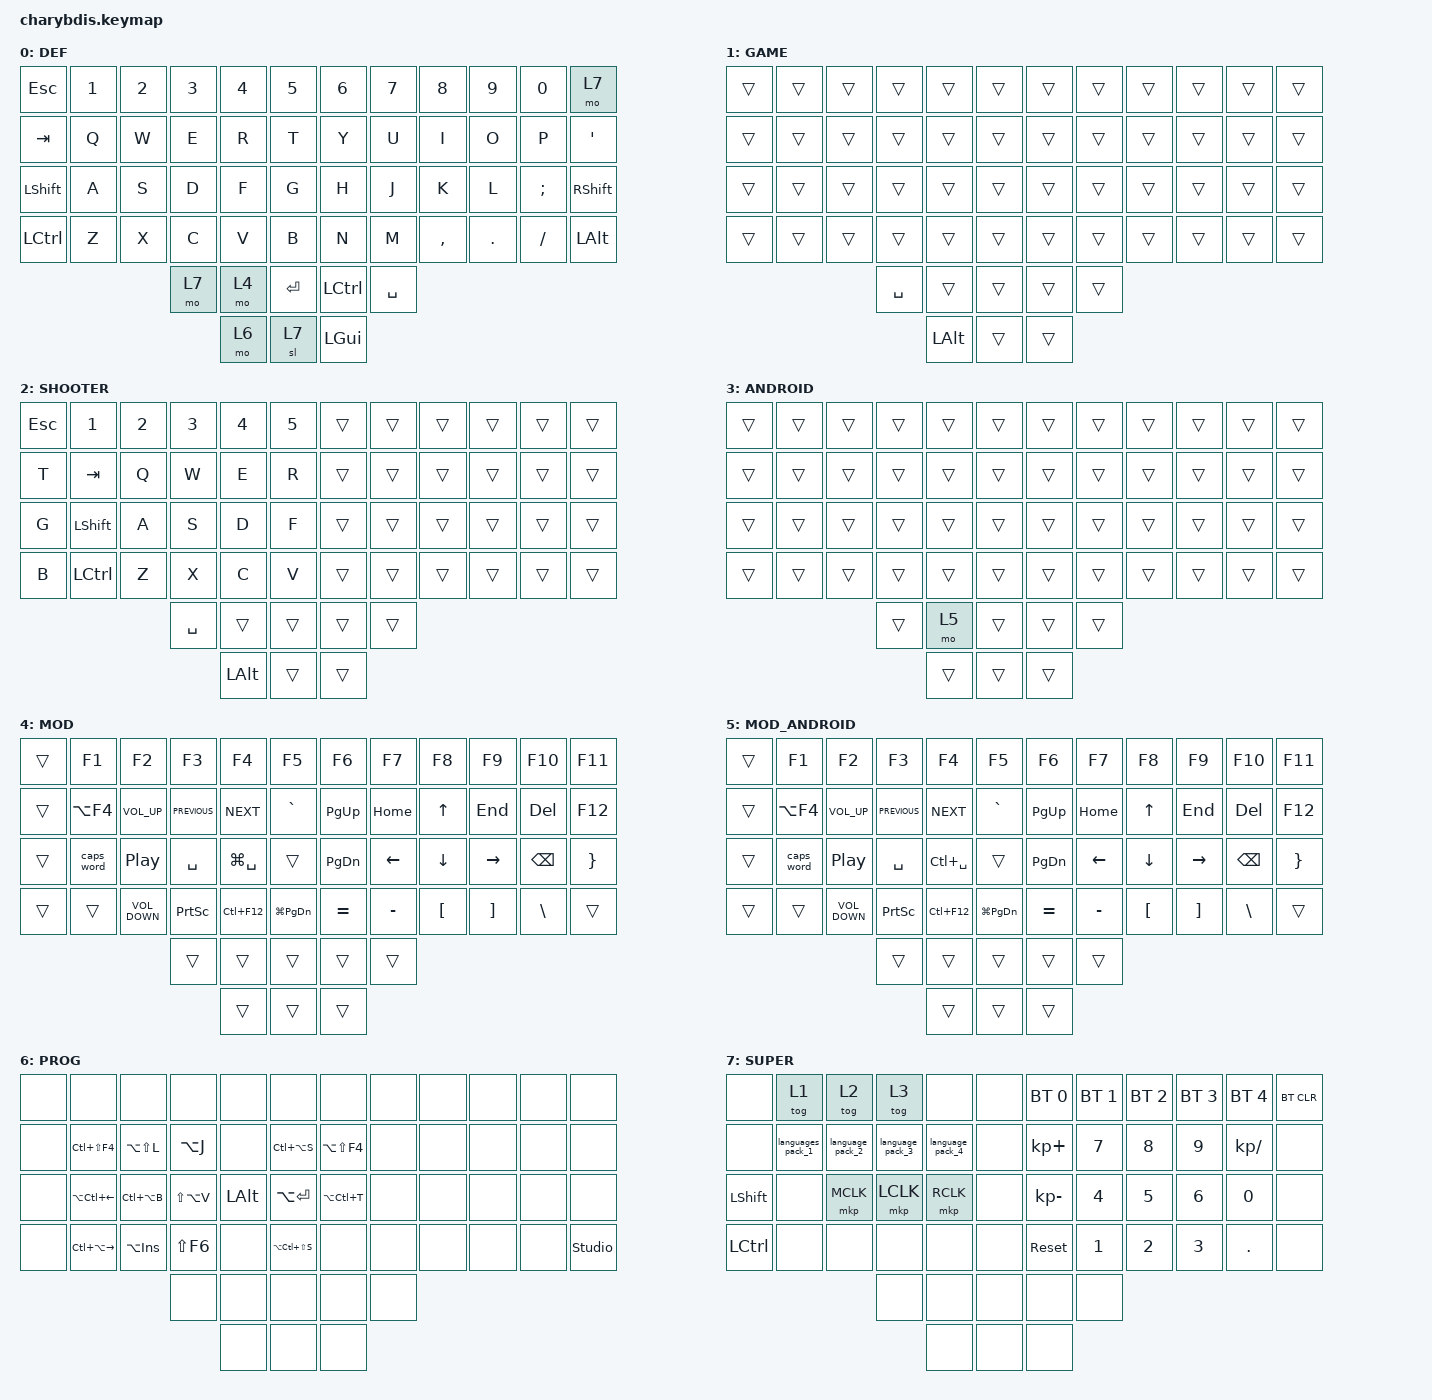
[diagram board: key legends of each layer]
#include <dt-bindings/zmk/mouse.h>
#include <behaviors/mouse_keys.dtsi>
#include <dt-bindings/zmk/input_transform.h>
#include <input/processors.dtsi>
#include <behaviors.dtsi>
#include <dt-bindings/zmk/bt.h>
#include <dt-bindings/zmk/keys.h>
#include <dt-bindings/zmk/pointing.h>
#include "macros.dtsi"

/ {
    /* Simple mouse move */

    trackball_listener {
        compatible = "zmk,input-behavior-listener";
        device = <&vtrackball>;
        layers = <0 1 2 3>;
        evt-type = <INPUT_EV_REL>;
        x-input-code = <INPUT_REL_X>;
        y-input-code = <INPUT_REL_Y>;
        scale-multiplier = <1>;
        scale-divisor = <1>;
    };

    /* Sniping mouse move */

    trackball_snipe_listener {
        compatible = "zmk,input-behavior-listener";
        device = <&vtrackball>;
        layers = <7>;
        evt-type = <INPUT_EV_REL>;
        x-input-code = <INPUT_REL_X>;
        y-input-code = <INPUT_REL_Y>;
        scale-multiplier = <1>;
        scale-divisor = <2>;
    };

    /* Scroll */

    trackball_scroll_listener {
        compatible = "zmk,input-behavior-listener";
        device = <&vtrackball>;
        layers = <4 5>;
        evt-type = <INPUT_EV_REL>;
        x-input-code = <INPUT_REL_MISC>;
        y-input-code = <INPUT_REL_WHEEL>;
        y-invert;
        bindings = <&ib_wheel_scaler 1 14>;
    };

    trackball_move_carriage {
        layers = <6>;
        device = <&vtrackball>;
        input-processors =
            <&zip_xy_transform (INPUT_TRANSFORM_Y_INVERT)>,
            <&zip_xy_scaler 1 3>,
            <&zip_xy_to_scroll_mapper>;
    };

    /* define a resolution down scaler only for INPUT_REL_WHEEL */

    ib_wheel_scaler: ib_wheel_scaler {
        compatible = "zmk,input-behavior-scaler";
        #binding-cells = <2>;
        evt-type = <INPUT_EV_REL>;
        input-code = <INPUT_REL_WHEEL>;
    };

    /* adjust cooldown waiting period for mouse key layer after activated */

    ib_toggle_layer: ib_toggle_layer {
        compatible = "zmk,input-behavior-tog-layer";
        #binding-cells = <1>;
        time-to-live-ms = <750>;
    };

    #define DEF 0
#define MOD 1
#define INT 2

    combos {
        compatible = "zmk,combos";

        CurlyL {
            bindings = <&kp LEFT_BRACE>;
            key-positions = <14 15>;
            layers = <4>;
        };

        CurlyR {
            bindings = <&kp RIGHT_BRACE>;
            key-positions = <20 21>;
            layers = <4>;
        };

        ParenthesisL {
            bindings = <&kp LEFT_PARENTHESIS>;
            key-positions = <26 27>;
            layers = <4>;
        };

        ParenthesisR {
            bindings = <&kp RIGHT_PARENTHESIS>;
            key-positions = <32 33>;
            layers = <4>;
        };

        BraketL {
            bindings = <&kp LEFT_BRACKET>;
            key-positions = <38 39>;
            layers = <4>;
        };

        BraketR {
            bindings = <&kp RIGHT_BRACKET>;
            key-positions = <44 45>;
            layers = <4>;
        };

        TriangleL {
            bindings = <&kp LESS_THAN>;
            key-positions = <25 26>;
            layers = <4>;
        };

        TriangleR {
            bindings = <&kp GREATER_THAN>;
            key-positions = <33 34>;
            layers = <4>;
        };
    };

    macros {
        languages_pack_1: languages_pack_1 {
            compatible = "zmk,behavior-macro";
            #binding-cells = <0>;
            bindings = <&kp LA(LG(N7)) &kp LG(LA(N8))>;
            label = "LANGUAGES_PACK_1";
        };

        language_pack_2: language_pack_2 {
            compatible = "zmk,behavior-macro";
            #binding-cells = <0>;
            bindings = <&kp LA(LG(N7)) &kp LG(LA(N9))>;
            label = "LANGUAGE_PACK_2";
        };

        language_pack_3: language_pack_3 {
            compatible = "zmk,behavior-macro";
            #binding-cells = <0>;
            bindings = <&kp LA(LG(N8)) &kp LG(LA(NUMBER_6))>;
            label = "LANGUAGE_PACK_3";
        };

        language_pack_4: language_pack_4 {
            compatible = "zmk,behavior-macro";
            #binding-cells = <0>;
            bindings = <&kp LA(LG(N7)) &kp LG(LA(N6))>;
            label = "LANGUAGE_PACK_4";
        };
    };

    keymap {
        compatible = "zmk,keymap";

        DEF {
            bindings = <
&kp ESC     &kp NUMBER_1  &kp N2  &kp N3  &kp N4  &kp N5       &kp N6     &kp N7     &kp N8     &kp N9   &kp N0     &mo 7
&kp TAB     &kp Q         &kp W   &kp E   &kp R   &kp T        &kp Y      &kp U      &kp I      &kp O    &kp P      &kp APOSTROPHE
&kp LSHIFT  &kp A         &kp S   &kp D   &kp F   &kp G        &kp H      &kp J      &kp K      &kp L    &kp SEMI   &kp RIGHT_SHIFT
&kp LCTRL   &kp Z         &kp X   &kp C   &kp V   &kp B        &kp N      &kp M      &kp COMMA  &kp DOT  &kp SLASH  &kp LEFT_ALT
                                  &mo 7   &mo 4   &kp ENTER    &kp LCTRL  &kp SPACE
                                          &mo 6   &sl 7        &kp LGUI
            >;
        };

        GAME {
            bindings = <
&trans  &trans  &trans  &trans     &trans        &trans    &trans  &trans  &trans  &trans  &trans  &trans
&trans  &trans  &trans  &trans     &trans        &trans    &trans  &trans  &trans  &trans  &trans  &trans
&trans  &trans  &trans  &trans     &trans        &trans    &trans  &trans  &trans  &trans  &trans  &trans
&trans  &trans  &trans  &trans     &trans        &trans    &trans  &trans  &trans  &trans  &trans  &trans
                        &kp SPACE  &trans        &trans    &trans  &trans
                                   &kp LEFT_ALT  &trans    &trans
            >;
        };

        SHOOTER {
            bindings = <
&kp ESCAPE  &kp NUMBER_1    &kp NUMBER_2  &kp NUMBER_3  &kp NUMBER_4  &kp NUMBER_5    &trans  &trans  &trans  &trans  &trans  &trans
&kp T       &kp TAB         &kp Q         &kp W         &kp E         &kp R           &trans  &trans  &trans  &trans  &trans  &trans
&kp G       &kp LEFT_SHIFT  &kp A         &kp S         &kp D         &kp F           &trans  &trans  &trans  &trans  &trans  &trans
&kp B       &kp LCTRL       &kp Z         &kp X         &kp C         &kp V           &trans  &trans  &trans  &trans  &trans  &trans
                                          &kp SPACE     &trans        &trans          &trans  &trans
                                                        &kp LEFT_ALT  &trans          &trans
            >;
        };

        ANDROID {
            bindings = <
&trans  &trans  &trans  &trans  &trans  &trans    &trans  &trans  &trans  &trans  &trans  &trans
&trans  &trans  &trans  &trans  &trans  &trans    &trans  &trans  &trans  &trans  &trans  &trans
&trans  &trans  &trans  &trans  &trans  &trans    &trans  &trans  &trans  &trans  &trans  &trans
&trans  &trans  &trans  &trans  &trans  &trans    &trans  &trans  &trans  &trans  &trans  &trans
                        &trans  &mo 5   &trans    &trans  &trans
                                &trans  &trans    &trans
            >;
        };

        MOD {
            bindings = <
&trans  &kp F1      &kp F2             &kp F3           &kp F4         &kp F5               &kp F6     &kp F7     &kp F8    &kp F9     &kp F10        &kp F11
&trans  &kp LA(F4)  &kp C_VOLUME_UP    &kp C_PREVIOUS   &kp C_NEXT     &kp GRAVE            &kp PG_UP  &kp HOME   &kp UP    &kp END    &kp DEL        &kp F12
&trans  &caps_word  &kp C_PLAY_PAUSE   &kp SPACE        &kp LG(SPACE)  &trans               &kp PG_DN  &kp LEFT   &kp DOWN  &kp RIGHT  &kp BACKSPACE  &kp RIGHT_BRACE
&trans  &trans      &kp C_VOLUME_DOWN  &kp PRINTSCREEN  &kp LC(F12)    &kp LG(PAGE_DOWN)    &kp EQUAL  &kp MINUS  &kp LBKT  &kp RBKT   &kp BACKSLASH  &trans
                                       &trans           &trans         &trans               &trans     &trans
                                                        &trans         &trans               &trans
            >;
        };

        MOD_ANDROID {
            bindings = <
&trans  &kp F1      &kp F2             &kp F3           &kp F4         &kp F5               &kp F6     &kp F7     &kp F8    &kp F9     &kp F10        &kp F11
&trans  &kp LA(F4)  &kp C_VOLUME_UP    &kp C_PREVIOUS   &kp C_NEXT     &kp GRAVE            &kp PG_UP  &kp HOME   &kp UP    &kp END    &kp DEL        &kp F12
&trans  &caps_word  &kp C_PLAY_PAUSE   &kp SPACE        &kp LC(SPACE)  &trans               &kp PG_DN  &kp LEFT   &kp DOWN  &kp RIGHT  &kp BACKSPACE  &kp RIGHT_BRACE
&trans  &trans      &kp C_VOLUME_DOWN  &kp PRINTSCREEN  &kp LC(F12)    &kp LG(PAGE_DOWN)    &kp EQUAL  &kp MINUS  &kp LBKT  &kp RBKT   &kp BACKSLASH  &trans
                                       &trans           &trans         &trans               &trans     &trans
                                                        &trans         &trans               &trans
            >;
        };

        PROG {
            bindings = <
&none  &none                    &none           &none          &none         &none                &none           &none  &none  &none  &none  &none
&none  &kp LC(LS(F4))           &kp LA(LS(L))   &kp LA(J)      &none         &kp LC(LA(S))        &kp LA(LS(F4))  &none  &none  &none  &none  &none
&none  &kp LA(LC(LEFT_ARROW))   &kp LC(LA(B))   &kp LS(LA(V))  &kp LEFT_ALT  &kp LA(ENTER)        &kp LA(LC(T))   &none  &none  &none  &none  &none
&none  &kp LC(LA(RIGHT_ARROW))  &kp LA(INSERT)  &kp LS(F6)     &none         &kp LA(LC(LS(S)))    &none           &none  &none  &none  &none  &studio_unlock
                                                &none          &none         &none                &none           &none
                                                               &none         &none                &none
            >;
        };

        SUPER {
            bindings = <
&none           &tog 1             &tog 2            &tog 3            &none             &none    &bt BT_SEL 0  &bt BT_SEL 1  &bt BT_SEL 2  &bt BT_SEL 3  &bt BT_SEL 4   &bt BT_CLR
&none           &languages_pack_1  &language_pack_2  &language_pack_3  &language_pack_4  &none    &kp KP_PLUS   &kp N7        &kp N8        &kp N9        &kp KP_DIVIDE  &none
&kp LEFT_SHIFT  &none              &mkp MCLK         &mkp LCLK         &mkp RCLK         &none    &kp KP_MINUS  &kp N4        &kp N5        &kp N6        &kp N0         &none
&kp LCTRL       &none              &none             &none             &none             &none    &sys_reset    &kp N1        &kp N2        &kp N3        &kp DOT        &none
                                                     &none             &none             &none    &none         &none
                                                                       &none             &none    &none
            >;
        };
    };
};
